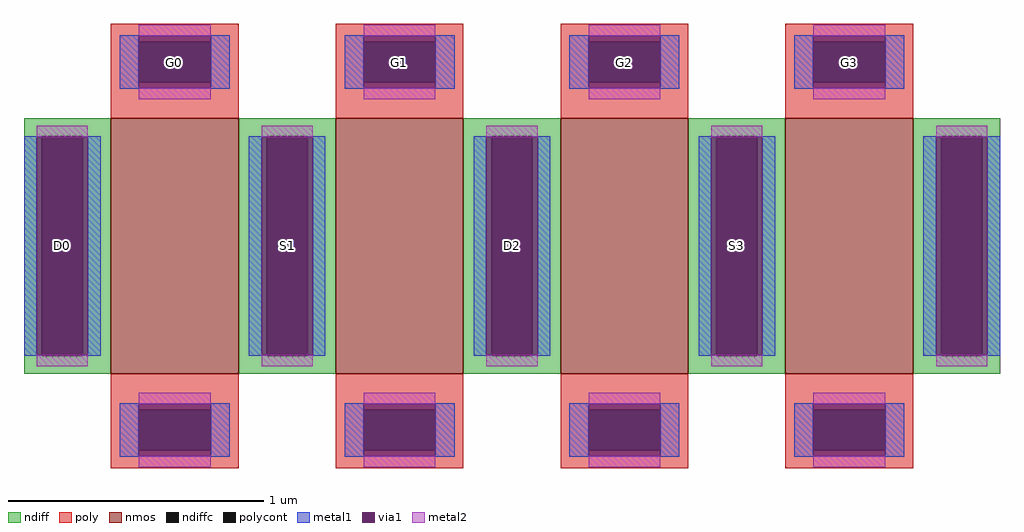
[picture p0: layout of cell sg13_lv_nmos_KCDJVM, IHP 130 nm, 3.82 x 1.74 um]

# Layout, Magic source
magic
tech ihp-sg13cmos5l
magscale 1 2
<< nmos >>
rect -314 -100 -214 100
rect -138 -100 -38 100
rect 38 -100 138 100
rect 214 -100 314 100
<< ndiff >>
rect -382 86 -314 100
rect -382 -86 -368 86
rect -336 -86 -314 86
rect -382 -100 -314 -86
rect -214 86 -138 100
rect -214 -86 -192 86
rect -160 -86 -138 86
rect -214 -100 -138 -86
rect -38 86 38 100
rect -38 -86 -16 86
rect 16 -86 38 86
rect -38 -100 38 -86
rect 138 86 214 100
rect 138 -86 160 86
rect 192 -86 214 86
rect 138 -100 214 -86
rect 314 86 382 100
rect 314 -86 336 86
rect 368 -86 382 86
rect 314 -100 382 -86
<< ndiffc >>
rect -368 -86 -336 86
rect -192 -86 -160 86
rect -16 -86 16 86
rect 160 -86 192 86
rect 336 -86 368 86
<< poly >>
rect -314 160 -214 174
rect -314 128 -292 160
rect -236 128 -214 160
rect -314 100 -214 128
rect -138 160 -38 174
rect -138 128 -116 160
rect -60 128 -38 160
rect -138 100 -38 128
rect 38 160 138 174
rect 38 128 60 160
rect 116 128 138 160
rect 38 100 138 128
rect 214 160 314 174
rect 214 128 236 160
rect 292 128 314 160
rect 214 100 314 128
rect -314 -128 -214 -100
rect -314 -160 -292 -128
rect -236 -160 -214 -128
rect -314 -174 -214 -160
rect -138 -128 -38 -100
rect -138 -160 -116 -128
rect -60 -160 -38 -128
rect -138 -174 -38 -160
rect 38 -128 138 -100
rect 38 -160 60 -128
rect 116 -160 138 -128
rect 38 -174 138 -160
rect 214 -128 314 -100
rect 214 -160 236 -128
rect 292 -160 314 -128
rect 214 -174 314 -160
<< polycont >>
rect -292 128 -236 160
rect -116 128 -60 160
rect 60 128 116 160
rect 236 128 292 160
rect -292 -160 -236 -128
rect -116 -160 -60 -128
rect 60 -160 116 -128
rect 236 -160 292 -128
<< metal1 >>
rect -307 164 -221 165
rect -307 124 -292 164
rect -236 124 -221 164
rect -307 123 -221 124
rect -131 164 -45 165
rect -131 124 -116 164
rect -60 124 -45 164
rect -131 123 -45 124
rect 45 164 131 165
rect 45 124 60 164
rect 116 124 131 164
rect 45 123 131 124
rect 221 164 307 165
rect 221 124 236 164
rect 292 124 307 164
rect 221 123 307 124
rect -382 85 -368 86
rect -336 85 -322 86
rect -382 -85 -372 85
rect -332 -85 -322 85
rect -382 -86 -368 -85
rect -336 -86 -322 -85
rect -206 85 -192 86
rect -160 85 -146 86
rect -206 -85 -196 85
rect -156 -85 -146 85
rect -206 -86 -192 -85
rect -160 -86 -146 -85
rect -30 85 -16 86
rect 16 85 30 86
rect -30 -85 -20 85
rect 20 -85 30 85
rect -30 -86 -16 -85
rect 16 -86 30 -85
rect 146 85 160 86
rect 192 85 206 86
rect 146 -85 156 85
rect 196 -85 206 85
rect 146 -86 160 -85
rect 192 -86 206 -85
rect 322 85 336 86
rect 368 85 382 86
rect 322 -85 332 85
rect 372 -85 382 85
rect 322 -86 336 -85
rect 368 -86 382 -85
rect -307 -124 -221 -123
rect -307 -164 -292 -124
rect -236 -164 -221 -124
rect -307 -165 -221 -164
rect -131 -124 -45 -123
rect -131 -164 -116 -124
rect -60 -164 -45 -124
rect -131 -165 -45 -164
rect 45 -124 131 -123
rect 45 -164 60 -124
rect 116 -164 131 -124
rect 45 -165 131 -164
rect 221 -124 307 -123
rect 221 -164 236 -124
rect 292 -164 307 -124
rect 221 -165 307 -164
<< via1 >>
rect -292 160 -236 164
rect -292 128 -236 160
rect -292 124 -236 128
rect -116 160 -60 164
rect -116 128 -60 160
rect -116 124 -60 128
rect 60 160 116 164
rect 60 128 116 160
rect 60 124 116 128
rect 236 160 292 164
rect 236 128 292 160
rect 236 124 292 128
rect -372 -85 -368 85
rect -368 -85 -336 85
rect -336 -85 -332 85
rect -196 -85 -192 85
rect -192 -85 -160 85
rect -160 -85 -156 85
rect -20 -85 -16 85
rect -16 -85 16 85
rect 16 -85 20 85
rect 156 -85 160 85
rect 160 -85 192 85
rect 192 -85 196 85
rect 332 -85 336 85
rect 336 -85 368 85
rect 368 -85 372 85
rect -292 -128 -236 -124
rect -292 -160 -236 -128
rect -292 -164 -236 -160
rect -116 -128 -60 -124
rect -116 -160 -60 -128
rect -116 -164 -60 -160
rect 60 -128 116 -124
rect 60 -160 116 -128
rect 60 -164 116 -160
rect 236 -128 292 -124
rect 236 -160 292 -128
rect 236 -164 292 -160
<< metal2 >>
rect -292 164 -236 173
rect -292 115 -236 124
rect -116 164 -60 173
rect -116 115 -60 124
rect 60 164 116 173
rect 60 115 116 124
rect 236 164 292 173
rect 236 115 292 124
rect -372 85 -332 94
rect -372 -94 -332 -85
rect -196 85 -156 94
rect -196 -94 -156 -85
rect -20 85 20 94
rect -20 -94 20 -85
rect 156 85 196 94
rect 156 -94 196 -85
rect 332 85 372 94
rect 332 -94 372 -85
rect -292 -124 -236 -115
rect -292 -173 -236 -164
rect -116 -124 -60 -115
rect -116 -173 -60 -164
rect 60 -124 116 -115
rect 60 -173 116 -164
rect 236 -124 292 -115
rect 236 -173 292 -164
<< labels >>
rlabel ndiffc -352 0 -352 0 0 D0
port 17 nsew
rlabel polycont -264 144 -264 144 0 G0
port 18 nsew
rlabel ndiffc -176 0 -176 0 0 S1
port 19 nsew
rlabel polycont -88 144 -88 144 0 G1
port 20 nsew
rlabel ndiffc 0 0 0 0 0 D2
port 21 nsew
rlabel polycont 88 144 88 144 0 G2
port 22 nsew
rlabel ndiffc 176 0 176 0 0 S3
port 23 nsew
rlabel polycont 264 144 264 144 0 G3
port 24 nsew
<< properties >>
string gencell sg13_lv_nmos
string library sg13cmos5l
string parameters w 1.0 l 0.5 m 1 ng 4 diffcov 100 polycov 100 guard 0 glc 1 grc 1 gtc 1 gbc 1 tbcov 100 rlcov 100 topc 1 botc 1 poverlap 0 doverlap 1 lmin 0.13 wmin 0.15 class mosfet compatible {sg13_lv_nmos sg13_hv_nmos} full_metal 1 conn_gates 0 gate_ring 0 doports 1 viasrc 100 viadrn 100 viagate 100 ccols 1 viagb 0 viagr 0 viagl 0 viagt 0
<< end >>
